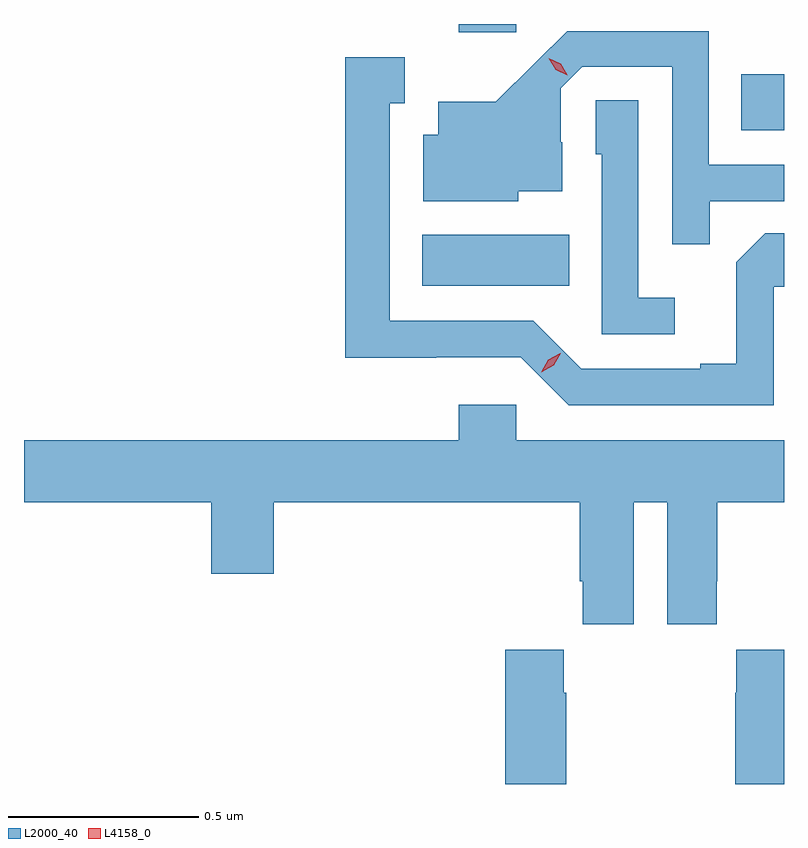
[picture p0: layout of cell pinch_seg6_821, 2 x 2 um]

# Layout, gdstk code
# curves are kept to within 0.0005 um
import gdstk
lib = gdstk.Library(unit=1e-6, precision=1e-09)
def R(c, l, rs):  # rectangles x0, y0, x1, y1
    for r in rs: c.add(gdstk.rectangle(r[:2], r[2:], *l))
def P(c, l, *ps):  # polygons
    for p in ps: c.add(gdstk.Polygon(p, *l))
L2000_40 = (2000, 40)
L4158_0 = (4158, 0)

pinch_seg6_821 = lib.new_cell('pinch_seg6_821')
R(pinch_seg6_821, L2000_40, [(165.563,990.53,165.95,990.664), (166.402,990.939,166.515,991.087), (165.659,991.197,165.81,991.219)])
P(pinch_seg6_821, L2000_40, [(166.319,990.753),(166.515,990.753),(166.515,990.849),(166.317,990.849),(166.317,991.2),(165.944,991.2),(165.757,991.015),(165.605,991.015),(165.605,990.928),(165.566,990.928),(165.566,990.752),(165.816,990.752),(165.816,990.779),(165.931,990.779),(165.931,990.908),(165.927,990.908),(165.927,991.05),(165.984,991.107),(166.221,991.107),(166.221,990.64),(166.319,990.64)],
  [(166.488,990.528),(166.515,990.528),(166.515,990.668),(166.465,990.668),(166.389,990.592),(166.389,990.325),(166.295,990.325),(166.295,990.312),(165.981,990.312),(165.855,990.438),(165.478,990.438),(165.478,991.011),(165.517,991.011),(165.517,991.132),(165.36,991.132),(165.36,990.341),(165.6,990.341),(165.6,990.342),(165.822,990.342),(165.948,990.216),(166.488,990.216)],
  [(166.228,990.499),(166.131,990.499),(166.131,991.019),(166.02,991.019),(166.02,990.876),(166.035,990.876),(166.035,990.402),(166.228,990.402)],
  [(166.12,989.96),(166.208,989.96),(166.208,989.64),(166.338,989.64),(166.338,989.752),(166.339,989.752),(166.339,989.96),(166.515,989.96),(166.515,990.124),(165.81,990.124),(165.81,990.217),(165.659,990.217),(165.659,990.124),(164.515,990.124),(164.515,989.96),(165.008,989.96),(165.008,989.772),(165.172,989.772),(165.172,989.96),(165.977,989.96),(165.977,989.752),(165.986,989.752),(165.986,989.64),(166.12,989.64)],
  [(165.942,989.459),(165.935,989.459),(165.935,989.572),(165.782,989.572),(165.782,989.219),(165.942,989.219)],
  [(166.515,989.572),(166.389,989.572),(166.389,989.459),(166.387,989.459),(166.387,989.219),(166.515,989.219)])
P(pinch_seg6_821, L4158_0, [(165.945,991.084),(165.914,991.099),(165.896,991.129),(165.896,991.129),(165.896,991.129),(165.927,991.114),(165.945,991.085),(165.945,991.084)],
  [(165.876,990.302),(165.876,990.302),(165.894,990.335),(165.926,990.353),(165.927,990.353),(165.927,990.353),(165.909,990.321),(165.876,990.302)])

lib.write_gds('pinch_seg6_821.gds')
